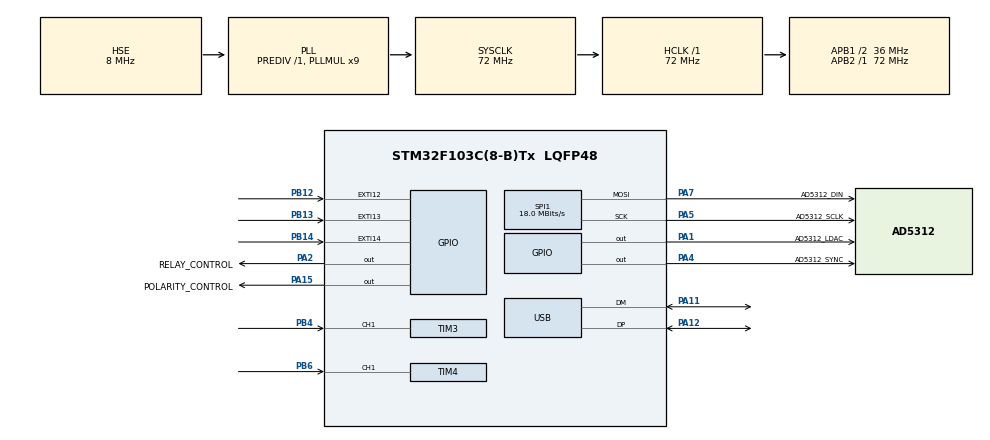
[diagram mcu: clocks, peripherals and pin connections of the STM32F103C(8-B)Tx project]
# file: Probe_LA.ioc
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Mcu.Family=STM32F1
Mcu.Name=STM32F103C(8-B)Tx
Mcu.Package=LQFP48
NVIC.EXTI15_10_IRQn=true\:0\:0\:true\:false\:true\:true\:true
NVIC.PriorityGroup=NVIC_PRIORITYGROUP_4
NVIC.TIM3_IRQn=true\:1\:0\:true\:false\:true\:true\:true
NVIC.TIM4_IRQn=true\:1\:0\:true\:false\:true\:true\:true
NVIC.USB_LP_CAN1_RX0_IRQn=true\:0\:0\:true\:false\:true\:false\:true
PA1.GPIO_Label=AD5312_LDAC
PA1.Signal=GPIO_Output
PA11.Mode=Device
PA11.Signal=USB_DM
PA12.Mode=Device
PA12.Signal=USB_DP
PA13.Mode=Trace_Asynchronous_SW
PA13.Signal=SYS_JTMS-SWDIO
PA14.Mode=Trace_Asynchronous_SW
PA14.Signal=SYS_JTCK-SWCLK
PA15.GPIO_Label=POLARITY_CONTROL
PA15.GPIO_ModeDefaultOutputPP=GPIO_MODE_OUTPUT_PP
PA15.GPIO_PuPd=GPIO_PULLDOWN
PA15.PinState=GPIO_PIN_RESET
PA15.Signal=GPIO_Output
PA2.GPIO_Label=RELAY_CONTROL
PA2.GPIO_PuPd=GPIO_PULLDOWN
PA2.PinState=GPIO_PIN_RESET
PA2.Signal=GPIO_Output
PA4.GPIO_Label=AD5312_SYNC
PA4.Signal=GPIO_Output
PA5.GPIO_Label=AD5312_SCLK
PA5.Mode=TX_Only_Simplex_Unidirect_Master
PA5.Signal=SPI1_SCK
PA7.GPIO_Label=AD5312_DIN
PA7.Mode=TX_Only_Simplex_Unidirect_Master
PA7.Signal=SPI1_MOSI
PB12.GPIO_ModeDefaultEXTI=GPIO_MODE_IT_RISING_FALLING
PB12.Signal=GPXTI12
PB13.GPIO_ModeDefaultEXTI=GPIO_MODE_IT_RISING_FALLING
PB13.Signal=GPXTI13
PB14.GPIO_ModeDefaultEXTI=GPIO_MODE_IT_RISING_FALLING
PB14.Signal=GPXTI14
PB3.Mode=Trace_Asynchronous_SW
PB3.Signal=SYS_JTDO-TRACESWO
PB4.Signal=S_TIM3_CH1
PB6.Signal=S_TIM4_CH1
PD0-OSC_IN.Mode=HSE-External-Oscillator
PD0-OSC_IN.Signal=RCC_OSC_IN
PD1-OSC_OUT.Mode=HSE-External-Oscillator
PD1-OSC_OUT.Signal=RCC_OSC_OUT
ProjectManager.HeapSize=0x200
ProjectManager.StackSize=0x400
ProjectManager.TargetToolchain=STM32CubeIDE
RCC.ADCPresc=RCC_ADCPCLK2_DIV6
RCC.AHBFreq_Value=72000000
RCC.APB1CLKDivider=RCC_HCLK_DIV2
RCC.APB1Freq_Value=36000000
RCC.APB1TimFreq_Value=72000000
RCC.APB2Freq_Value=72000000
RCC.APB2TimFreq_Value=72000000
RCC.HCLKFreq_Value=72000000
RCC.PLLMUL=RCC_PLL_MUL9
RCC.PLLSourceVirtual=RCC_PLLSOURCE_HSE
RCC.SYSCLKFreq_VALUE=72000000
RCC.SYSCLKSource=RCC_SYSCLKSOURCE_PLLCLK
RCC.USBFreq_Value=48000000
RCC.USBPrescaler=RCC_USBCLKSOURCE_PLL_DIV1_5
SH.S_TIM3_CH1.0=TIM3_CH1,Input_Capture1_from_TI1
SH.S_TIM4_CH1.0=TIM4_CH1,Input_Capture1_from_TI1
SPI1.BaudRatePrescaler=SPI_BAUDRATEPRESCALER_4
SPI1.CalculateBaudRate=18.0 MBits/s
SPI1.DataSize=SPI_DATASIZE_16BIT
SPI1.Direction=SPI_DIRECTION_2LINES
SPI1.FirstBit=SPI_FIRSTBIT_MSB
SPI1.Mode=SPI_MODE_MASTER
SPI1.VirtualType=VM_MASTER
TIM3.Channel-Input_Capture1_from_TI1=TIM_CHANNEL_1
TIM3.Channel-Input_Capture2_from_TI1_63=TIM_CHANNEL_2
TIM3.ICPolarity_CH2=TIM_INPUTCHANNELPOLARITY_FALLING
TIM3.Period=65000-1
TIM3.Prescaler=72-1
TIM3.TIM_MasterOutputTrigger=TIM_TRGO_RESET
TIM4.Channel-Input_Capture1_from_TI1=TIM_CHANNEL_1
TIM4.Channel-Input_Capture2_from_TI1_63=TIM_CHANNEL_2
TIM4.ICPolarity_CH2=TIM_INPUTCHANNELPOLARITY_FALLING
TIM4.Period=65000-1
TIM4.Prescaler=72-1
USB_DEVICE.CLASS_NAME_FS=CDC
USB_DEVICE.MANUFACTURER_STRING=GRANIT
USB_DEVICE.PRODUCT_STRING_CDC_FS=GRANIT_LA_PROBE
USB_DEVICE.VirtualMode=Cdc
USB_DEVICE.VirtualModeFS=Cdc_FS
VP_CRC_VS_CRC.Mode=CRC_Activate
VP_TIM3_VS_indirect_ch1.Mode=Input_Capture2_from_TI1_63
VP_TIM4_VS_indirect_ch1.Mode=Input_Capture2_from_TI1_63
VP_USB_DEVICE_VS_USB_DEVICE_CDC_FS.Mode=CDC_FS
board=custom

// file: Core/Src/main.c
/* USER CODE BEGIN Header */
/*
 *
 * */
/* USER CODE END Header */
#include "main.h"
#include "usb_device.h"

/* USER CODE BEGIN Includes */

/*-USER FILES----------------------------------------------------------------*/
#include <logic_calibration_table.h>
#include <flash.h>
#include <crc.h>
#include <usb_handler.h>
#include <btn.h>
#include <usbd_cdc_if.h>
#include <ad5322.h>
#include <dac.h>
#include <tim.h>
#include <stm32f1xx_it.h>

/*-STANDART C FILES----------------------------------------------------------*/
#include "string.h"
#include "stdbool.h"

/* USER CODE END Includes */

CRC_HandleTypeDef hcrc;

SPI_HandleTypeDef hspi1;

TIM_HandleTypeDef htim3;
TIM_HandleTypeDef htim4;

/* USER CODE BEGIN PV */
/* Объединение для работы с калибровочной таблицей */
union NVRAM DevNVRAM;

/* Структура для организации приема пакетов по USB */
usb_rx_data_type usb_rx_data = {
      .is_handled     = true,
      .len            = 0,
      .buff           = {0,0,0,0,0,0,0,0,
                         0,0,0,0,0,0,0,0,
                         0,0,0,0,0,0,0,0,
                         0,0,0,0,0,0,0,0,
                         0,0,0,0,0,0,0,0,
                         0,0,0,0,0,0,0,0,
                         0,0,0,0,0,0,0,0,
                         0,0,0,0,0,0,0,0}
};

/* Заполнение структур для работы с кнопками */
struct btn btn_pin_12 = {
      .is_long_press      = 0,
      .was_short_pressed  = 0,
      .is_count_started   = 0,
      .counter            = 0
};
struct btn btn_pin_13 = {
      .is_long_press      = 0,
      .was_short_pressed  = 0,
      .is_count_started   = 0,
      .counter            = 0
};
struct btn btn_pin_14 = {
      .is_long_press      = 0,
      .was_short_pressed  = 0,
      .is_count_started   = 0,
      .counter            = 0
};

/* Заполнение структуры для ЦАП и реле */
struct comparison_parameters comparison_parameter = {
    .dac_A_dgt          = 0,
    .dac_A_volt         = 0,
    .dac_B_dgt          = 0,
    .dac_B_volt         = 0,
    .relay_state        = M27,
    .calibration_state  = CALIBRATION_OFF,

    /* Constant values */
    .dac_dgt_val_max    = 4095,
    .dac_dgt_val_min    = 0
};

/* USER CODE END PV */

void SystemClock_Config(void);
static void MX_GPIO_Init(void);
static void MX_SPI1_Init(void);
static void MX_TIM3_Init(void);
static void MX_TIM4_Init(void);
static void MX_CRC_Init(void);

int main(void)
{

  /* MCU Configuration--------------------------------------------------------*/

  /* Reset of all peripherals, Initializes the Flash interface and the Systick. */
  HAL_Init();

  /* Configure the system clock */
  SystemClock_Config();

  /* Initialize all configured peripherals */
  MX_GPIO_Init();
  MX_SPI1_Init();
  MX_USB_DEVICE_Init();
  MX_TIM3_Init();
  MX_TIM4_Init();
  MX_CRC_Init();
  /* USER CODE BEGIN 2 */
  calib_table_init( &DevNVRAM.calibration_table );
  tim_init_calibration();

  HAL_TIM_IC_Start_IT(&htim3, TIM_CHANNEL_1);
  HAL_TIM_IC_Start_IT(&htim3, TIM_CHANNEL_2);
  HAL_TIM_IC_Start_IT(&htim4, TIM_CHANNEL_1);
  HAL_TIM_IC_Start_IT(&htim4, TIM_CHANNEL_2);

  /*---------------Temporary manual setting---------------*/
  comparison_parameter.calibration_state = CALIBRATION_ON;
  comparison_parameter.dac_A_dgt = 2048;
  comparison_parameter.dac_B_dgt = 2048;
  dac_set_A_B_dgt(&comparison_parameter);
  /*---------------Delete it before release---------------*/

  /* USER CODE END 2 */

  /* Infinite loop */
	while (1)
	{

	}
}

void SystemClock_Config(void)
{
  RCC_OscInitTypeDef RCC_OscInitStruct = {0};
  RCC_ClkInitTypeDef RCC_ClkInitStruct = {0};
  RCC_PeriphCLKInitTypeDef PeriphClkInit = {0};

  /** Initializes the RCC Oscillators according to the specified parameters
  * in the RCC_OscInitTypeDef structure.
  */
  RCC_OscInitStruct.OscillatorType = RCC_OSCILLATORTYPE_HSE;
  RCC_OscInitStruct.HSEState = RCC_HSE_ON;
  RCC_OscInitStruct.HSEPredivValue = RCC_HSE_PREDIV_DIV1;
  RCC_OscInitStruct.HSIState = RCC_HSI_ON;
  RCC_OscInitStruct.PLL.PLLState = RCC_PLL_ON;
  RCC_OscInitStruct.PLL.PLLSource = RCC_PLLSOURCE_HSE;
  RCC_OscInitStruct.PLL.PLLMUL = RCC_PLL_MUL9;
  if (HAL_RCC_OscConfig(&RCC_OscInitStruct) != HAL_OK)
  {
    Error_Handler();
  }
  /** Initializes the CPU, AHB and APB buses clocks
  */
  RCC_ClkInitStruct.ClockType = RCC_CLOCKTYPE_HCLK|RCC_CLOCKTYPE_SYSCLK
                              |RCC_CLOCKTYPE_PCLK1|RCC_CLOCKTYPE_PCLK2;
  RCC_ClkInitStruct.SYSCLKSource = RCC_SYSCLKSOURCE_PLLCLK;
  RCC_ClkInitStruct.AHBCLKDivider = RCC_SYSCLK_DIV1;
  RCC_ClkInitStruct.APB1CLKDivider = RCC_HCLK_DIV2;
  RCC_ClkInitStruct.APB2CLKDivider = RCC_HCLK_DIV1;

  if (HAL_RCC_ClockConfig(&RCC_ClkInitStruct, FLASH_LATENCY_2) != HAL_OK)
  {
    Error_Handler();
  }
  PeriphClkInit.PeriphClockSelection = RCC_PERIPHCLK_USB;
  PeriphClkInit.UsbClockSelection = RCC_USBCLKSOURCE_PLL_DIV1_5;
  if (HAL_RCCEx_PeriphCLKConfig(&PeriphClkInit) != HAL_OK)
  {
    Error_Handler();
  }
}

static void MX_CRC_Init(void)
{

  hcrc.Instance = CRC;
  if (HAL_CRC_Init(&hcrc) != HAL_OK)
  {
    Error_Handler();
  }

}

static void MX_SPI1_Init(void)
{

  /* SPI1 parameter configuration*/
  hspi1.Instance = SPI1;
  hspi1.Init.Mode = SPI_MODE_MASTER;
  hspi1.Init.Direction = SPI_DIRECTION_2LINES;
  hspi1.Init.DataSize = SPI_DATASIZE_16BIT;
  hspi1.Init.CLKPolarity = SPI_POLARITY_LOW;
  hspi1.Init.CLKPhase = SPI_PHASE_1EDGE;
  hspi1.Init.NSS = SPI_NSS_SOFT;
  hspi1.Init.BaudRatePrescaler = SPI_BAUDRATEPRESCALER_4;
  hspi1.Init.FirstBit = SPI_FIRSTBIT_MSB;
  hspi1.Init.TIMode = SPI_TIMODE_DISABLE;
  hspi1.Init.CRCCalculation = SPI_CRCCALCULATION_DISABLE;
  hspi1.Init.CRCPolynomial = 10;
  if (HAL_SPI_Init(&hspi1) != HAL_OK)
  {
    Error_Handler();
  }

}

static void MX_TIM3_Init(void)
{

  TIM_MasterConfigTypeDef sMasterConfig = {0};
  TIM_IC_InitTypeDef sConfigIC = {0};

  htim3.Instance = TIM3;
  htim3.Init.Prescaler = 72-1;
  htim3.Init.CounterMode = TIM_COUNTERMODE_UP;
  htim3.Init.Period = 65000-1;
  htim3.Init.ClockDivision = TIM_CLOCKDIVISION_DIV1;
  htim3.Init.AutoReloadPreload = TIM_AUTORELOAD_PRELOAD_DISABLE;
  if (HAL_TIM_IC_Init(&htim3) != HAL_OK)
  {
    Error_Handler();
  }
  sMasterConfig.MasterOutputTrigger = TIM_TRGO_RESET;
  sMasterConfig.MasterSlaveMode = TIM_MASTERSLAVEMODE_DISABLE;
  if (HAL_TIMEx_MasterConfigSynchronization(&htim3, &sMasterConfig) != HAL_OK)
  {
    Error_Handler();
  }
  sConfigIC.ICPolarity = TIM_INPUTCHANNELPOLARITY_RISING;
  sConfigIC.ICSelection = TIM_ICSELECTION_DIRECTTI;
  sConfigIC.ICPrescaler = TIM_ICPSC_DIV1;
  sConfigIC.ICFilter = 0;
  if (HAL_TIM_IC_ConfigChannel(&htim3, &sConfigIC, TIM_CHANNEL_1) != HAL_OK)
  {
    Error_Handler();
  }
  sConfigIC.ICPolarity = TIM_INPUTCHANNELPOLARITY_FALLING;
  sConfigIC.ICSelection = TIM_ICSELECTION_INDIRECTTI;
  if (HAL_TIM_IC_ConfigChannel(&htim3, &sConfigIC, TIM_CHANNEL_2) != HAL_OK)
  {
    Error_Handler();
  }

}

static void MX_TIM4_Init(void)
{

  TIM_MasterConfigTypeDef sMasterConfig = {0};
  TIM_IC_InitTypeDef sConfigIC = {0};

  htim4.Instance = TIM4;
  htim4.Init.Prescaler = 72-1;
  htim4.Init.CounterMode = TIM_COUNTERMODE_UP;
  htim4.Init.Period = 65000-1;
  htim4.Init.ClockDivision = TIM_CLOCKDIVISION_DIV1;
  htim4.Init.AutoReloadPreload = TIM_AUTORELOAD_PRELOAD_DISABLE;
  if (HAL_TIM_IC_Init(&htim4) != HAL_OK)
  {
    Error_Handler();
  }
  sMasterConfig.MasterOutputTrigger = TIM_TRGO_RESET;
  sMasterConfig.MasterSlaveMode = TIM_MASTERSLAVEMODE_DISABLE;
  if (HAL_TIMEx_MasterConfigSynchronization(&htim4, &sMasterConfig) != HAL_OK)
  {
    Error_Handler();
  }
  sConfigIC.ICPolarity = TIM_INPUTCHANNELPOLARITY_RISING;
  sConfigIC.ICSelection = TIM_ICSELECTION_DIRECTTI;
  sConfigIC.ICPrescaler = TIM_ICPSC_DIV1;
  sConfigIC.ICFilter = 0;
  if (HAL_TIM_IC_ConfigChannel(&htim4, &sConfigIC, TIM_CHANNEL_1) != HAL_OK)
  {
    Error_Handler();
  }
  sConfigIC.ICPolarity = TIM_INPUTCHANNELPOLARITY_FALLING;
  sConfigIC.ICSelection = TIM_ICSELECTION_INDIRECTTI;
  if (HAL_TIM_IC_ConfigChannel(&htim4, &sConfigIC, TIM_CHANNEL_2) != HAL_OK)
  {
    Error_Handler();
  }

}

static void MX_GPIO_Init(void)
{
  GPIO_InitTypeDef GPIO_InitStruct = {0};

  /* GPIO Ports Clock Enable */
  __HAL_RCC_GPIOD_CLK_ENABLE();
  __HAL_RCC_GPIOA_CLK_ENABLE();
  __HAL_RCC_GPIOB_CLK_ENABLE();

  /*Configure GPIO pin Output Level */
  HAL_GPIO_WritePin(GPIOA, AD5312_LDAC_Pin|RELAY_CONTROL_Pin|AD5312_SYNC_Pin|POLARITY_CONTROL_Pin, GPIO_PIN_RESET);

  /*Configure GPIO pins : AD5312_LDAC_Pin AD5312_SYNC_Pin */
  GPIO_InitStruct.Pin = AD5312_LDAC_Pin|AD5312_SYNC_Pin;
  GPIO_InitStruct.Mode = GPIO_MODE_OUTPUT_PP;
  GPIO_InitStruct.Pull = GPIO_NOPULL;
  GPIO_InitStruct.Speed = GPIO_SPEED_FREQ_LOW;
  HAL_GPIO_Init(GPIOA, &GPIO_InitStruct);

  /*Configure GPIO pins : RELAY_CONTROL_Pin POLARITY_CONTROL_Pin */
  GPIO_InitStruct.Pin = RELAY_CONTROL_Pin|POLARITY_CONTROL_Pin;
  GPIO_InitStruct.Mode = GPIO_MODE_OUTPUT_PP;
  GPIO_InitStruct.Pull = GPIO_PULLDOWN;
  GPIO_InitStruct.Speed = GPIO_SPEED_FREQ_LOW;

  HAL_GPIO_Init(GPIOA, &GPIO_InitStruct);

  /*Configure GPIO pins : PB12 PB13 PB14 */
  GPIO_InitStruct.Pin = GPIO_PIN_12|GPIO_PIN_13|GPIO_PIN_14;
  GPIO_InitStruct.Mode = GPIO_MODE_IT_RISING_FALLING;
  GPIO_InitStruct.Pull = GPIO_NOPULL;
  HAL_GPIO_Init(GPIOB, &GPIO_InitStruct);

  /* EXTI interrupt init*/
  HAL_NVIC_SetPriority(EXTI15_10_IRQn, 0, 0);
  HAL_NVIC_EnableIRQ(EXTI15_10_IRQn);

}

/* USER CODE BEGIN 4 */

/*
 * @brief   Set positive polarity of external power supply
 */
void main_set_positive_polarity(void)
{
  HAL_GPIO_WritePin(POLARITY_CONTROL_GPIO_Port, POLARITY_CONTROL_Pin, GPIO_PIN_RESET);
  tim_set_v_polarity(POSITIVE_POLARITY);
}

/*
 * @brief   Set negative polarity of external power supply
 */
void main_set_negative_polarity(void)
{
  HAL_GPIO_WritePin(POLARITY_CONTROL_GPIO_Port, POLARITY_CONTROL_Pin, GPIO_PIN_SET);
  tim_set_v_polarity(NEGATIVE_POLARITY);
}

/**
 * @function  main_set_relay_state_m12()
 * @brife     Установка режима работы щупа.
 * @param     void
 * @return    void
 * @details   Установка режима работы щупа в 12 В включением реле.
*/
void main_set_relay_state_m12(void)
{
  comparison_parameter.relay_state = M12;
  HAL_GPIO_WritePin(RELAY_CONTROL_GPIO_Port, RELAY_CONTROL_Pin, GPIO_PIN_SET);
}

/**
 * @function  main_set_relay_state_m27()
 * @brife     Установка режима работы щупа.
 * @param     void
 * @return    void
 * @details   Установка режима работы щупа в 27 В отключением реле.
*/
void main_set_relay_state_m27(void)
{
  comparison_parameter.relay_state = M27;
  HAL_GPIO_WritePin(RELAY_CONTROL_GPIO_Port, RELAY_CONTROL_Pin, GPIO_PIN_RESET);
}

/**
 * @function  main_get_relay_state()
 * @brife     Получение состояния реле щупа.
 * @param     void
 * @return    enum RelayState
 * @details   Возвращает текущее состояние реле делителя щупа ЛА.
*/
enum RelayState main_get_relay_state(void)
{
  return comparison_parameter.relay_state;
}

/* USER CODE END 4 */

void Error_Handler(void)
{
}

#ifdef  USE_FULL_ASSERT
/**
  * @brief  Reports the name of the source file and the source line number
  *         where the assert_param error has occurred.
  * @param  file: pointer to the source file name
  * @param  line: assert_param error line source number
  * @retval None
  */
void assert_failed(uint8_t *file, uint32_t line)
{
  /* USER CODE BEGIN 6 */
	/* User can add his own implementation to report the file name and line number,
     tex: printf("Wrong parameters value: file %s on line %d\r\n", file, line) */
	//	 printf("Wrong parameters value: file %s on line %d\r\n", file, line);
  /* USER CODE END 6 */
}
#endif /* USE_FULL_ASSERT */
